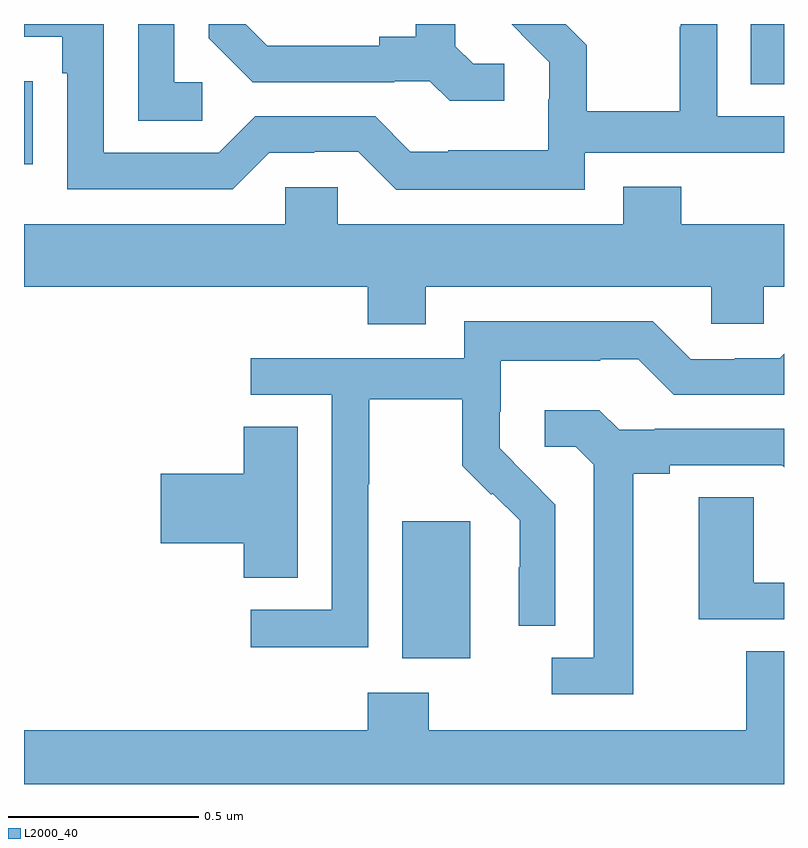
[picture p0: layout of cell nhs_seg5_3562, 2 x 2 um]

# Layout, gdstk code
import gdstk
lib = gdstk.Library(unit=1e-6, precision=1e-09)
def R(c, l, rs):  # rectangles x0, y0, x1, y1
    for r in rs: c.add(gdstk.rectangle(r[:2], r[2:], *l))
def P(c, l, *ps):  # polygons
    for p in ps: c.add(gdstk.Polygon(p, *l))
L2000_40 = (2000, 40)

nhs_seg5_3562 = lib.new_cell('nhs_seg5_3562')
R(nhs_seg5_3562, L2000_40, [(159.995,841.13,160.174,841.491), (159,842.43,159.023,842.648), (160.913,842.641,161,842.799)])
P(nhs_seg5_3562, L2000_40, [(159.469,842.646),(159.396,842.646),(159.396,842.799),(159.3,842.799),(159.3,842.545),(159.469,842.545)],
  [(160.264,842.694),(160.182,842.694),(160.135,842.741),(160.135,842.799),(160.031,842.799),(160.031,842.765),(159.935,842.765),(159.935,842.742),(159.64,842.742),(159.583,842.799),(159.486,842.799),(159.486,842.762),(159.602,842.646),(159.974,842.646),(159.974,842.649),(160.068,842.649),(160.12,842.597),(160.264,842.597)],
  [(160.476,842.46),(161,842.46),(161,842.556),(160.824,842.556),(160.824,842.799),(160.728,842.799),(160.728,842.792),(160.726,842.792),(160.726,842.569),(160.481,842.569),(160.481,842.743),(160.425,842.799),(160.283,842.799),(160.309,842.773),(160.308,842.772),(160.382,842.698),(160.382,842.601),(160.38,842.601),(160.38,842.467),(160.117,842.467),(160.117,842.463),(160.017,842.463),(159.924,842.556),(159.609,842.556),(159.513,842.46),(159.21,842.46),(159.21,842.799),(159,842.799),(159,842.766),(159.101,842.766),(159.101,842.669),(159.114,842.669),(159.114,842.364),(159.549,842.364),(159.645,842.46),(159.764,842.46),(159.764,842.463),(159.879,842.463),(159.979,842.363),(160.476,842.363)],
  [(160.057,842.108),(160.809,842.108),(160.809,842.01),(160.947,842.01),(160.947,842.108),(161,842.108),(161,842.272),(160.73,842.272),(160.73,842.371),(160.577,842.371),(160.577,842.272),(159.825,842.272),(159.825,842.37),(159.687,842.37),(159.687,842.272),(159,842.272),(159,842.108),(159.905,842.108),(159.905,842.009),(160.057,842.009)],
  [(159.906,841.588),(159.909,841.588),(159.909,841.812),(160.153,841.812),(160.153,841.637),(160.23,841.56),(160.233,841.563),(160.304,841.493),(160.304,841.37),(160.302,841.37),(160.302,841.216),(160.398,841.216),(160.398,841.534),(160.325,841.607),(160.326,841.608),(160.252,841.682),(160.252,841.779),(160.254,841.779),(160.254,841.913),(160.517,841.913),(160.517,841.917),(160.617,841.917),(160.71,841.824),(161,841.824),(161,841.931),(160.989,841.92),(160.871,841.92),(160.871,841.917),(160.755,841.917),(160.655,842.017),(160.158,842.017),(160.158,841.92),(159.597,841.92),(159.597,841.824),(159.81,841.824),(159.81,841.257),(159.597,841.257),(159.597,841.159),(159.906,841.159)],
  [(160.603,841.616),(160.699,841.616),(160.699,841.638),(160.994,841.638),(161,841.632),(161,841.734),(160.66,841.734),(160.66,841.731),(160.566,841.731),(160.514,841.783),(160.371,841.783),(160.371,841.686),(160.452,841.686),(160.499,841.639),(160.499,841.131),(160.389,841.131),(160.389,841.035),(160.603,841.035)],
  [(159.721,841.739),(159.578,841.739),(159.578,841.616),(159.36,841.616),(159.36,841.433),(159.578,841.433),(159.578,841.342),(159.721,841.342)],
  [(161,841.329),(160.92,841.329),(160.92,841.553),(160.775,841.553),(160.775,841.233),(161,841.233)],
  [(161,841.148),(160.901,841.148),(160.901,840.94),(160.065,840.94),(160.065,841.039),(159.905,841.039),(159.905,840.94),(159,840.94),(159,840.799),(161,840.799)])

lib.write_gds('nhs_seg5_3562.gds')
